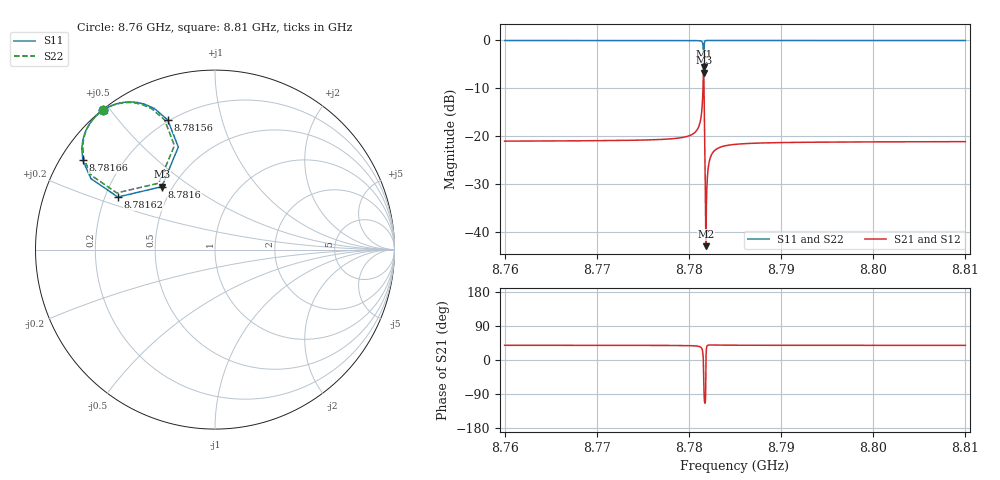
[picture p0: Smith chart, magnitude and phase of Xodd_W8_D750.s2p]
! Sonnet Data File
! From: emgraph Version : 16.52
! From Project: Qubit_Xmon2_brg
! Data is De-embedded
! Data File Written: 10/25/2017 15:28:40
!< HDATE 10/25/2017 13:50:25
!< MDATE 10/25/2017 13:50:25
!< PARAMS
!< Lj = 11.0
!< Gap = 6.0
!< Pwid = 2000.0
!< Airgap = 6.0
!< Width = 10.0
!< Bwid = 8.0
!< Dis1 = 750.0
!< Dis2 = 756.0
!< END PARAMS
# GHZ S MA R 34.70000
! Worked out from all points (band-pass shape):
!   2501 points, 8.76 GHz to 8.81 GHz, reference 34.7 ohm
!   highest |S21| = -5.52 dB at 8.7816 GHz (marker M1); lowest = -43.0 dB at 8.78184 GHz (marker M2)
!   |S21| within 3 dB of the highest: 8.781547 GHz to 8.78163 GHz (82.92 kHz wide, 0.000944 % of centre)
!   lowest |S11| = -6.8 dB at 8.7816 GHz (marker M3), VSWR 2.70, Z = 15.2 + j13.5 ohm
!   |S11| at or under -10 dB: nowhere
!   |S22| runs from -6.3 to 0.0 dB; largest |S21 - S12| = 0
!   S11 on the Smith chart (normalised r, x): 8.76 GHz: 0.00, +0.48; 8.78156 GHz: 0.19, +0.68; 8.7816 GHz: 0.44, +0.39; 8.78162 GHz: 0.25, +0.24; 8.78166 GHz: 0.06, +0.30; 8.81 GHz: 0.00, +0.48
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8.76  0.996 128.8  0.08878 38.8  0.08878 38.8  0.996 128.8
!< P1 F=8.76 Eeff=(5.13726025 -5.6937e-5) Z0=(34.6466742 -9.6556e-5) R=0.0 C=0.0
!< P2 F=8.76 Eeff=(5.13726025 -5.6937e-5) Z0=(34.6466742 -9.6556e-5) R=0.0 C=0.0
8.76834  0.996 128.7  0.08948 38.7  0.08948 38.7  0.996 128.7
8.77668  0.9957 128.5  0.09218 38.5  0.09218 38.5  0.9957 128.5
8.78034  0.9943 127.8  0.1042 37.7  0.1042 37.7  0.9943 127.8
8.78108  0.9905 126.4  0.1268 35.9  0.1268 35.9  0.9906 126.6
8.78132  0.9824 124.5  0.1589 32.9  0.1589 32.9  0.9827 124.8
8.78142  0.9692 122.3  0.1956 29.2  0.1956 29.2  0.9698 122.7
8.7815  0.9291 118.0  0.2688 21.1  0.2688 21.1  0.9308 118.6
8.78156  0.7684 110.0  0.4196 0.1  0.4196 0.1  0.7758 111.2
8.7816  0.4589 130.2  0.5295 -43.1  0.5295 -43.1  0.4851 130.3
8.78162  0.6152 151.6  0.4429 -70.5  0.4429 -70.5  0.6318 150.0
8.78166  0.8887 146.0  0.2219 -101.1  0.2219 -101.1  0.8931 145.1
8.78184  0.9932 133.7  0.007117 -23.9  0.007117 -23.9  0.9936 133.5
8.78192  0.9959 132.5  0.02423 33.6  0.02423 33.6  0.9961 132.3
8.782  0.9969 131.7  0.03685 38.0  0.03685 38.0  0.997 131.6
8.78222  0.9975 130.7  0.05503 39.6  0.05503 39.6  0.9975 130.6
8.7826  0.9973 129.9  0.06764 39.6  0.06764 39.6  0.9973 129.9
8.7834  0.9969 129.4  0.07676 39.3  0.07676 39.3  0.9969 129.4
8.785  0.9966 129.0  0.08214 39.0  0.08214 39.0  0.9966 129.1
8.79334  0.9962 128.7  0.08651 38.7  0.08651 38.7  0.9962 128.8
8.80168  0.9962 128.6  0.08733 38.7  0.08733 38.7  0.9962 128.7
8.81  0.9961 128.6  0.08773 38.6  0.08773 38.6  0.9961 128.6
